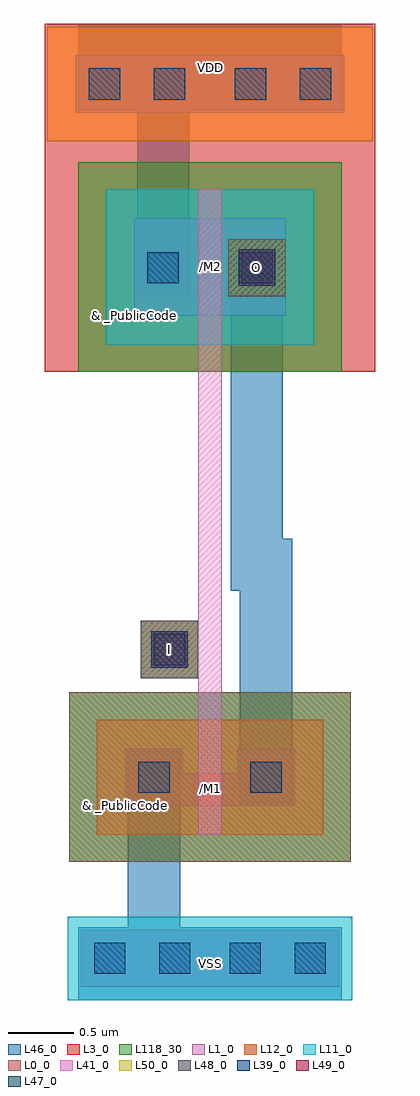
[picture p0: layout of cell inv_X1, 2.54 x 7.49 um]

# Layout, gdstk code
import gdstk
lib = gdstk.Library(unit=1e-6, precision=1e-09)
def R(c, l, rs):  # rectangles x0, y0, x1, y1
    for r in rs: c.add(gdstk.rectangle(r[:2], r[2:], *l))
def P(c, l, *ps):  # polygons
    for p in ps: c.add(gdstk.Polygon(p, *l))
L0_0 = (0, 0)
L1_0 = (1, 0)
L3_0 = (3, 0)
L11_0 = (11, 0)
L12_0 = (12, 0)
L39_0 = (39, 0)
L41_0 = (41, 0)
L46_0 = (46, 0)
L47_0 = (47, 0)
L48_0 = (48, 0)
L49_0 = (49, 0)
L50_0 = (50, 0)
L118_30 = (118, 30)

m2m3 = lib.new_cell('M2M3')
R(m2m3, L48_0, [(-0.22,-0.22,0.22,0.22)])
R(m2m3, L49_0, [(-0.14,-0.14,0.14,0.14)])
R(m2m3, L50_0, [(-0.22,-0.22,0.22,0.22)])

m1m2 = lib.new_cell('M1M2')
R(m1m2, L46_0, [(-0.22,-0.22,0.22,0.22)])
R(m1m2, L47_0, [(-0.14,-0.14,0.14,0.14)])
R(m1m2, L48_0, [(-0.22,-0.22,0.22,0.22)])

mpoly = lib.new_cell('MPOLY')
R(mpoly, L39_0, [(-0.12,-0.12,0.12,0.12)])
R(mpoly, L41_0, [(-0.22,-0.22,0.22,0.22)])
R(mpoly, L46_0, [(-0.2,-0.2,0.2,0.2)])

inv_x1 = lib.new_cell('inv_X1')
R(inv_x1, L0_0, [(-1.06,-2.43,1.1,-1.13)])
R(inv_x1, L1_0, [(-0.97,-3.39,1.01,-2.95), (-0.56,1.76,0.6,2.51), (-0.56,1.76,-0.07,2.51), (0.11,1.76,0.6,2.51), (-1.01,3.32,1.05,3.76)])
P(inv_x1, L1_0, [(0.67,-2),(0.67,-1.56),(0.23,-1.56),(0.23,-1.75),(-0.19,-1.75),(-0.19,-1.56),(-0.63,-1.56),(-0.63,-2)],
  [(0.67,-2),(0.67,-1.56),(0.23,-1.56),(0.23,-1.75),(0.11,-1.75),(0.11,-2)],
  [(-0.07,-2),(-0.07,-1.75),(-0.19,-1.75),(-0.19,-1.56),(-0.63,-1.56),(-0.63,-2)])
R(inv_x1, L3_0, [(-0.99,1.33,1.03,2.94), (-1.25,3.08,1.29,4)])
P(inv_x1, L3_0, [(-1.25,1.33),(-0.99,1.33),(-0.99,2.94),(1.03,2.94),(1.03,1.33),(1.29,1.33),(1.29,3.08),(-1.25,3.08)])
R(inv_x1, L11_0, [(-1.07,-3.49,1.11,-2.85), (-0.78,1.54,0.82,2.73)])
R(inv_x1, L12_0, [(-0.85,-2.22,0.89,-1.34), (-1.23,3.1,1.27,3.98)])
R(inv_x1, L39_0, [(-0.87,-3.29,-0.63,-3.05), (-0.37,-3.29,-0.13,-3.05), (0.17,-3.29,0.41,-3.05), (0.67,-3.29,0.91,-3.05), (-0.53,-1.9,-0.29,-1.66), (0.33,-1.9,0.57,-1.66), (-0.46,2.01,-0.22,2.25), (0.26,2.01,0.5,2.25), (-0.91,3.42,-0.67,3.66), (-0.41,3.42,-0.17,3.66), (0.21,3.42,0.45,3.66), (0.71,3.42,0.95,3.66)])
R(inv_x1, L41_0, [(-0.07,-2.22,0.11,-2), (-0.07,-2,0.11,-1.75), (-0.07,-1.75,0.11,-1.53), (-0.07,-1.59,0.11,1.54), (-0.38,-0.89,-0.08,-0.71), (-0.07,1.54,0.11,1.76), (-0.07,1.76,0.11,2.51), (-0.07,2.51,0.11,2.73)])
R(inv_x1, L46_0, [(-0.99,-3.49,1.03,-2.93), (-0.99,-3.41,1.03,-2.93), (-0.61,-3.21,-0.21,-1.58), (-0.61,-1.98,-0.21,-1.58), (0.25,-1.98,0.65,-1.58), (-0.54,1.93,-0.14,2.34), (0.18,1.93,0.58,2.34), (-0.54,2.34,-0.14,3.34), (-0.99,3.34,1.03,3.74), (-0.99,3.34,1.03,4)])
P(inv_x1, L46_0, [(0.18,-0.35),(0.25,-0.35),(0.25,-1.98),(0.65,-1.98),(0.65,0.05),(0.58,0.05),(0.58,1.91),(0.18,1.91)])
R(inv_x1, L50_0, [(-0.51,-1.02,-0.07,-0.58), (0.16,1.91,0.6,2.35)])
R(inv_x1, L118_30, [(-1.06,-2.43,1.1,-1.13), (-0.99,1.33,1.03,2.94)])
inv_x1.add(gdstk.Reference(m2m3, (0.38,2.13)))
inv_x1.add(gdstk.Reference(m1m2, (-0.29,-0.8)))
inv_x1.add(gdstk.Reference(m1m2, (0.38,2.13)))
inv_x1.add(gdstk.Reference(m2m3, (-0.29,-0.8)))
inv_x1.add(gdstk.Reference(mpoly, (-0.29,-0.8)))
inv_x1.add(gdstk.Label('& _PublicCode', (-0.56,1.76), layer=63, texttype=63))
inv_x1.add(gdstk.Label('/M2', (0.02,2.14), layer=85, texttype=0))
inv_x1.add(gdstk.Label('& Vendor Mentor', (-0.56,1.76), layer=63, texttype=63))
inv_x1.add(gdstk.Label('& Product UMC180FDKMFM', (-0.56,1.76), layer=63, texttype=63))
inv_x1.add(gdstk.Label('& Version A01', (-0.56,1.76), layer=63, texttype=63))
inv_x1.add(gdstk.Label('& Metric 0', (-0.56,1.76), layer=63, texttype=63))
inv_x1.add(gdstk.Label('& _PublicCode', (-0.63,-2), layer=63, texttype=63))
inv_x1.add(gdstk.Label('/M1', (0.02,-1.87), layer=85, texttype=0))
inv_x1.add(gdstk.Label('& Vendor Mentor', (-0.63,-2), layer=63, texttype=63))
inv_x1.add(gdstk.Label('& Product UMC180FDKMFM', (-0.63,-2), layer=63, texttype=63))
inv_x1.add(gdstk.Label('& Version A01', (-0.63,-2), layer=63, texttype=63))
inv_x1.add(gdstk.Label('& Metric 0', (-0.63,-2), layer=63, texttype=63))
inv_x1.add(gdstk.Label('I', (-0.29,-0.8), layer=103, texttype=0))
inv_x1.add(gdstk.Label('O', (0.38,2.13), layer=103, texttype=0))
inv_x1.add(gdstk.Label('VSS', (0.02,-3.21), layer=101, texttype=0))
inv_x1.add(gdstk.Label('VDD', (0.02,3.67), layer=101, texttype=0))

lib.write_gds('inv_X1.gds')
